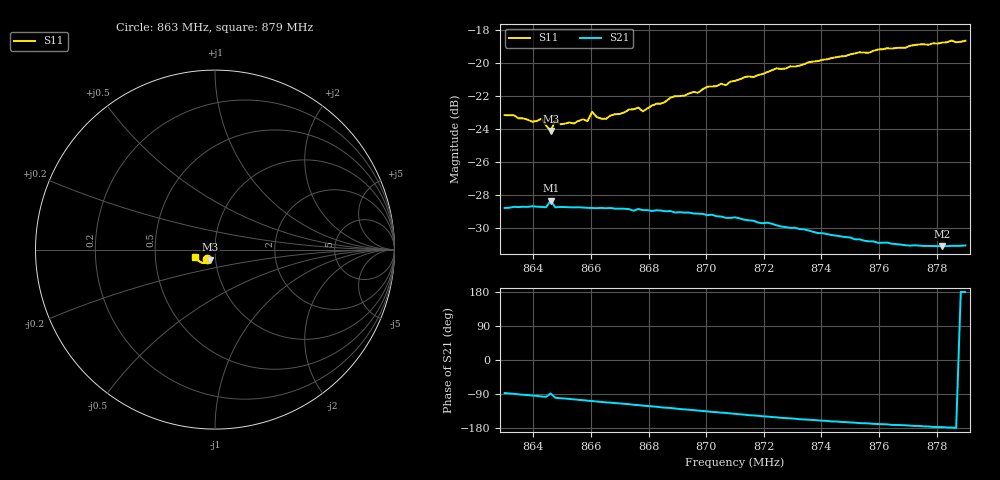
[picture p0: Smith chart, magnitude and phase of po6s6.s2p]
# HZ S RI R 50
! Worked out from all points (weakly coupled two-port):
!   101 points, 863 MHz to 879 MHz, reference 50 ohm
!   highest |S21| = -28.34 dB at 864.6 MHz (marker M1); lowest = -31.1 dB at 878.2 MHz (marker M2)
!   lowest |S11| = -24.1 dB at 864.6 MHz (marker M3), VSWR 1.13, Z = 47.2 - j5.39 ohm
!   |S11| at or under -10 dB: start of sweep to end of sweep
!   S12 and S22 are empty: the file has one direction only
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8.63e8  -0.0442 -0.0537  0.00185 -0.0363  0 0  0 0
8.6396e8  -0.0397 -0.0532  -0.00239 -0.0367  0 0  0 0
8.6428e8  -0.0388 -0.0557  -0.00396 -0.0364  0 0  0 0
8.6444e8  -0.0365 -0.0534  -0.00459 -0.0362  0 0  0 0
8.646e8  -0.0253 -0.0568  0.00111 -0.0383  0 0  0 0
8.6476e8  -0.0374 -0.0557  -0.00609 -0.036  0 0  0 0
8.6492e8  -0.0367 -0.0539  -0.00691 -0.0359  0 0  0 0
8.6572e8  -0.0334 -0.0587  -0.0101 -0.035  0 0  0 0
8.6588e8  -0.035 -0.0568  -0.0108 -0.0347  0 0  0 0
8.6604e8  -0.0402 -0.0587  -0.0114 -0.0345  0 0  0 0
8.662e8  -0.0345 -0.0592  -0.0121 -0.0342  0 0  0 0
8.6652e8  -0.0326 -0.0594  -0.0135 -0.0337  0 0  0 0
8.6732e8  -0.0347 -0.0635  -0.0162 -0.0322  0 0  0 0
8.6764e8  -0.0354 -0.0642  -0.0175 -0.0316  0 0  0 0
8.678e8  -0.034 -0.0627  -0.018 -0.0309  0 0  0 0
8.6844e8  -0.0366 -0.0659  -0.0205 -0.0292  0 0  0 0
8.6892e8  -0.0387 -0.0693  -0.0217 -0.0277  0 0  0 0
8.71e8  -0.0489 -0.0736  -0.0268 -0.021  0 0  0 0
8.7372e8  -0.0687 -0.0741  -0.0286 -0.0114  0 0  0 0
8.7644e8  -0.092 -0.0615  -0.028 -0.00432  0 0  0 0
8.782e8  -0.1057 -0.0464  -0.0278 -0.00142  0 0  0 0
8.79e8  -0.1103 -0.0387  -0.028 0.000347  0 0  0 0
